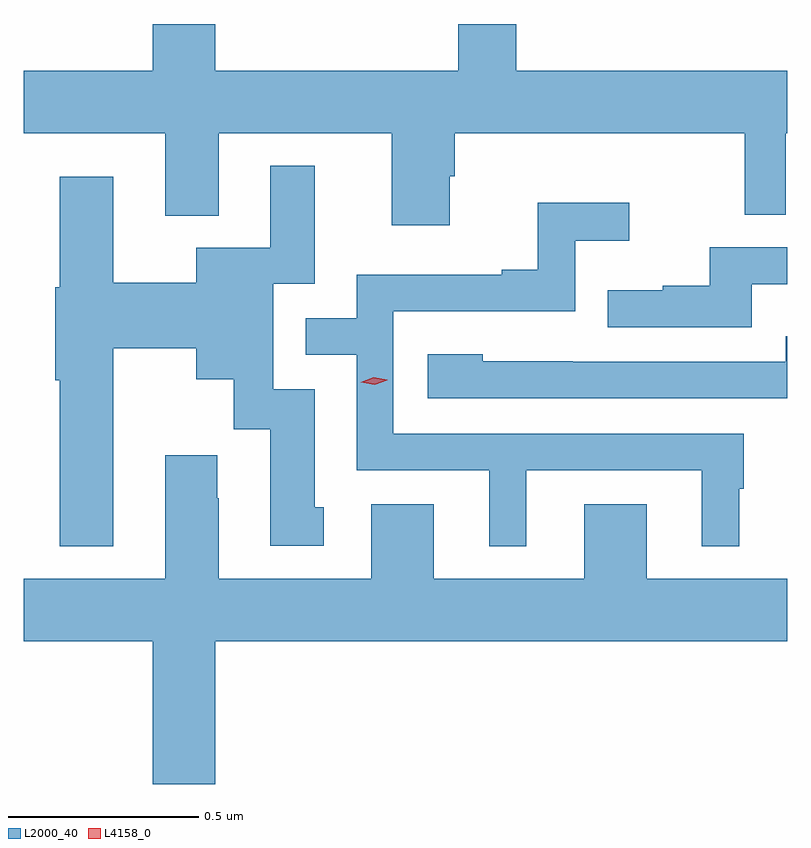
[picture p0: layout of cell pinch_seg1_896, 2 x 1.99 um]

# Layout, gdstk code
import gdstk
lib = gdstk.Library(unit=1e-6, precision=1e-09)
def P(c, l, *ps):  # polygons
    for p in ps: c.add(gdstk.Polygon(p, *l))
L2000_40 = (2000, 40)
L4158_0 = (4158, 0)

pinch_seg1_896 = lib.new_cell('pinch_seg1_896')
P(pinch_seg1_896, L2000_40, [(561.391,536.967),(561.404,536.967),(561.404,537.08),(562.164,537.08),(562.164,536.866),(562.272,536.866),(562.272,537.08),(562.275,537.08),(562.275,537.244),(561.565,537.244),(561.565,537.366),(561.413,537.366),(561.413,537.244),(560.776,537.244),(560.776,537.366),(560.612,537.366),(560.612,537.244),(560.275,537.244),(560.275,537.08),(560.645,537.08),(560.645,536.864),(560.785,536.864),(560.785,537.08),(561.239,537.08),(561.239,536.838),(561.391,536.838)],
  [(560.509,536.516),(560.726,536.516),(560.726,536.435),(560.825,536.435),(560.825,536.304),(560.921,536.304),(560.921,535.998),(561.061,535.998),(561.061,536.1),(561.037,536.1),(561.037,536.409),(560.928,536.409),(560.928,536.685),(561.037,536.685),(561.037,536.995),(560.921,536.995),(560.921,536.779),(560.726,536.779),(560.726,536.688),(560.509,536.688),(560.509,536.965),(560.369,536.965),(560.369,536.676),(560.357,536.676),(560.357,536.432),(560.369,536.432),(560.369,535.997),(560.509,535.997)],
  [(561.592,536.196),(562.052,536.196),(562.052,535.997),(562.15,535.997),(562.15,536.148),(562.162,536.148),(562.162,536.292),(561.243,536.292),(561.243,536.613),(561.72,536.613),(561.72,536.798),(561.862,536.798),(561.862,536.897),(561.622,536.897),(561.622,536.722),(561.527,536.722),(561.527,536.709),(561.147,536.709),(561.147,536.595),(561.014,536.595),(561.014,536.499),(561.147,536.499),(561.147,536.196),(561.494,536.196),(561.494,535.997),(561.592,535.997)],
  [(562.183,536.684),(562.275,536.684),(562.275,536.781),(562.073,536.781),(562.073,536.68),(561.949,536.68),(561.949,536.668),(561.805,536.668),(561.805,536.571),(562.183,536.571)],
  [(562.275,536.548),(562.271,536.548),(562.271,536.481),(561.713,536.481),(561.713,536.482),(561.477,536.482),(561.477,536.5),(561.333,536.5),(561.333,536.385),(562.275,536.385)],
  [(560.776,535.748),(562.275,535.748),(562.275,535.912),(561.907,535.912),(561.907,536.107),(561.743,536.107),(561.743,535.912),(561.349,535.912),(561.349,536.107),(561.185,536.107),(561.185,535.912),(560.785,535.912),(560.785,536.123),(560.782,536.123),(560.782,536.236),(560.645,536.236),(560.645,535.912),(560.275,535.912),(560.275,535.748),(560.612,535.748),(560.612,535.374),(560.776,535.374)])
P(pinch_seg1_896, L4158_0, [(561.194,536.42),(561.158,536.427),(561.158,536.427),(561.158,536.427),(561.192,536.44),(561.227,536.433),(561.227,536.432),(561.227,536.432)])

lib.write_gds('pinch_seg1_896.gds')
